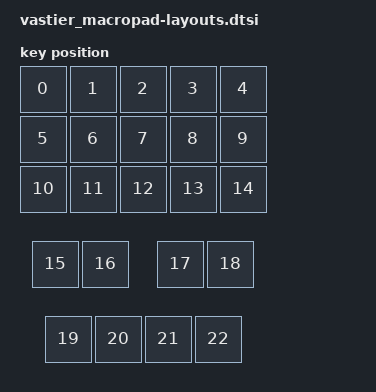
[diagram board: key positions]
#include <physical_layouts.dtsi>

/ {
    physical_layout0: physical_layout_0 {
        compatible = "zmk,physical-layout";
        display-name = "VasMacropadLayout";
        kscan = <&kscan0>;
        transform = <&matrix_transform0>;
        keys  //                     w   h    x    y     rot    rx    ry
            // Row 1 - Keys 1-5
            = <&key_physical_attrs 100 100    0    0       0     0     0>
            , <&key_physical_attrs 100 100  100    0       0     0     0>
            , <&key_physical_attrs 100 100  200    0       0     0     0>
            , <&key_physical_attrs 100 100  300    0       0     0     0>
            , <&key_physical_attrs 100 100  400    0       0     0     0>
            // Row 2 - Keys 6-10
            , <&key_physical_attrs 100 100    0  100       0     0     0>
            , <&key_physical_attrs 100 100  100  100       0     0     0>
            , <&key_physical_attrs 100 100  200  100       0     0     0>
            , <&key_physical_attrs 100 100  300  100       0     0     0>
            , <&key_physical_attrs 100 100  400  100       0     0     0>
            // Row 3 - Keys 11-15
            , <&key_physical_attrs 100 100    0  200       0     0     0>
            , <&key_physical_attrs 100 100  100  200       0     0     0>
            , <&key_physical_attrs 100 100  200  200       0     0     0>
            , <&key_physical_attrs 100 100  300  200       0     0     0>
            , <&key_physical_attrs 100 100  400  200       0     0     0>
            // Row 4 - Tip, Ring, Enc1SW, Enc2SW
            , <&key_physical_attrs 100 100   25  350       0     0     0>
            , <&key_physical_attrs 100 100  125  350       0     0     0>
            , <&key_physical_attrs 100 100  275  350       0     0     0>
            , <&key_physical_attrs 100 100  375  350       0     0     0>
            // Row 5 - Pedal 1-4
            , <&key_physical_attrs 100 100   50  500       0     0     0>
            , <&key_physical_attrs 100 100  150  500       0     0     0>
            , <&key_physical_attrs 100 100  250  500       0     0     0>
            , <&key_physical_attrs 100 100  350  500       0     0     0>
            ;
    };
};
